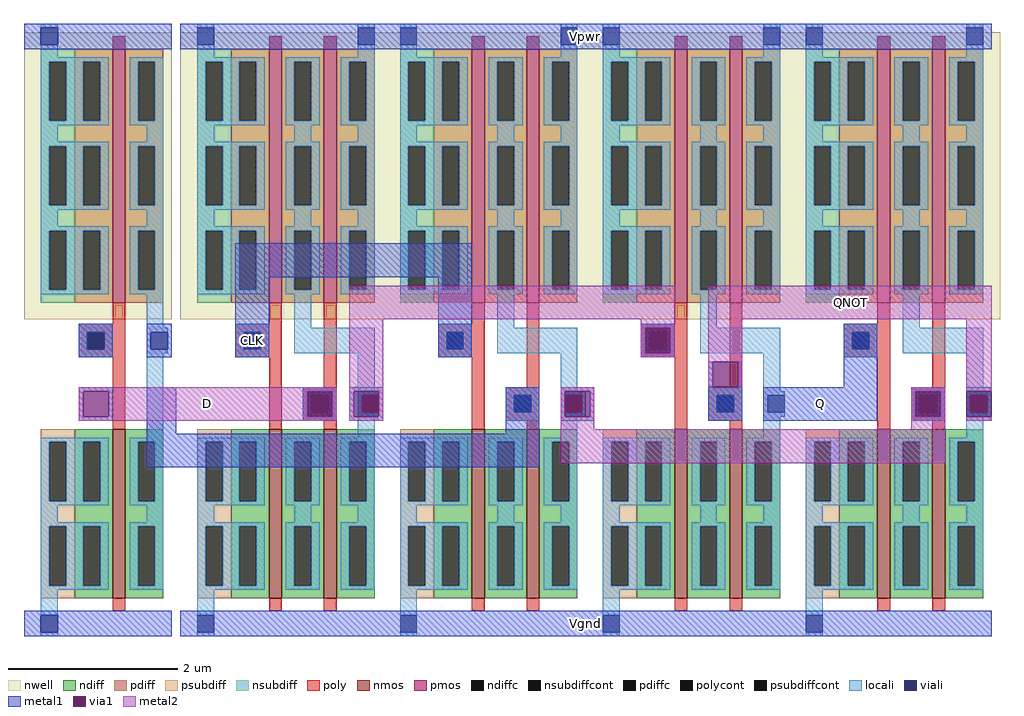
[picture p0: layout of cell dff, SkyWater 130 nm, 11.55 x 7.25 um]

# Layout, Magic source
magic
tech sky130A
<< nwell >>
rect 835 155 845 495
<< metal1 >>
rect -125 475 835 505
rect -60 205 220 245
rect -60 110 -20 205
rect 180 110 220 205
rect 500 75 505 105
rect 535 75 540 105
rect 660 75 700 150
rect -245 70 -205 75
rect -245 40 -240 70
rect -210 40 -205 70
rect -245 35 -205 40
rect -165 20 -130 75
rect 20 70 60 75
rect 20 40 25 70
rect 55 40 60 70
rect 20 35 60 40
rect 75 70 115 75
rect 75 40 80 70
rect 110 40 115 70
rect 75 35 115 40
rect 260 20 300 75
rect 325 70 365 75
rect 325 40 330 70
rect 360 40 365 70
rect 325 35 365 40
rect 500 35 540 75
rect 565 35 700 75
rect -165 -20 300 20
rect -125 -220 835 -190
<< via1 >>
rect 425 115 455 145
rect 505 75 535 105
rect -240 40 -210 70
rect 25 40 55 70
rect 80 40 110 70
rect 330 40 360 70
rect 745 40 775 70
rect 805 40 835 70
<< metal2 >>
rect 75 155 460 195
rect -245 70 60 75
rect -245 40 -240 70
rect -210 40 25 70
rect 55 40 60 70
rect -245 35 60 40
rect 75 70 115 155
rect 420 145 460 155
rect 420 115 425 145
rect 455 115 460 145
rect 420 110 460 115
rect 500 155 835 195
rect 500 105 540 155
rect 500 75 505 105
rect 535 75 540 105
rect 75 40 80 70
rect 110 40 115 70
rect 75 35 115 40
rect 325 70 365 75
rect 325 40 330 70
rect 360 40 365 70
rect 325 25 365 40
rect 740 70 780 75
rect 740 40 745 70
rect 775 40 780 70
rect 740 25 780 40
rect 805 70 835 155
rect 805 35 835 40
rect 325 -15 780 25
use inverter  inverter_0
transform 1 0 -205 0 1 -25
box -105 -195 80 530
use nand  nand_0
transform 1 0 -20 0 1 -25
box -105 -195 145 530
use nand  nand_1
transform 1 0 220 0 1 -25
box -105 -195 145 530
use nand  nand_2
transform 1 0 460 0 1 -25
box -105 -195 145 530
use nand  nand_3
transform 1 0 700 0 1 -25
box -105 -195 145 530
<< labels >>
flabel metal1 -60 110 -20 150 1 FreeSans 200 0 0 0 CLK
port 1 n
flabel metal1 -125 -220 835 -190 1 FreeSans 200 0 0 0 Vgnd
port 4 n
flabel metal1 -125 475 835 505 1 FreeSans 200 0 0 0 Vpwr
port 3 n
flabel metal2 -210 35 25 75 1 FreeSans 200 0 0 0 D
port 5 n
flabel metal2 500 155 835 195 1 FreeSans 200 0 0 0 QNOT
port 2 n
flabel metal1 565 35 700 75 1 FreeSans 200 0 0 0 Q
port 6 n
<< end >>

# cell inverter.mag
magic
tech sky130A
<< nwell >>
rect -105 180 70 520
<< nmos >>
rect 0 -150 15 50
<< pmos >>
rect 0 200 15 500
<< ndiff >>
rect -45 35 0 50
rect -45 -35 -35 35
rect -15 -35 0 35
rect -45 -65 0 -35
rect -45 -135 -35 -65
rect -15 -135 0 -65
rect -45 -150 0 -135
rect 15 35 60 50
rect 15 -35 30 35
rect 50 -35 60 35
rect 15 -65 60 -35
rect 15 -135 30 -65
rect 50 -135 60 -65
rect 15 -150 60 -135
<< pdiff >>
rect -45 485 0 500
rect -45 415 -35 485
rect -15 415 0 485
rect -45 385 0 415
rect -45 315 -35 385
rect -15 315 0 385
rect -45 285 0 315
rect -45 215 -35 285
rect -15 215 0 285
rect -45 200 0 215
rect 15 485 60 500
rect 15 415 30 485
rect 50 415 60 485
rect 15 385 60 415
rect 15 315 30 385
rect 50 315 60 385
rect 15 285 60 315
rect 15 215 30 285
rect 50 215 60 285
rect 15 200 60 215
<< ndiffc >>
rect -35 -35 -15 35
rect -35 -135 -15 -65
rect 30 -35 50 35
rect 30 -135 50 -65
<< pdiffc >>
rect -35 415 -15 485
rect -35 315 -15 385
rect -35 215 -15 285
rect 30 415 50 485
rect 30 315 50 385
rect 30 215 50 285
<< psubdiff >>
rect -85 35 -45 50
rect -85 -35 -75 35
rect -55 -35 -45 35
rect -85 -65 -45 -35
rect -85 -135 -75 -65
rect -55 -135 -45 -65
rect -85 -150 -45 -135
<< nsubdiff >>
rect -85 485 -45 500
rect -85 415 -75 485
rect -55 415 -45 485
rect -85 385 -45 415
rect -85 315 -75 385
rect -55 315 -45 385
rect -85 285 -45 315
rect -85 215 -75 285
rect -55 215 -45 285
rect -85 200 -45 215
<< psubdiffcont >>
rect -75 -35 -55 35
rect -75 -135 -55 -65
<< nsubdiffcont >>
rect -75 415 -55 485
rect -75 315 -55 385
rect -75 215 -55 285
<< poly >>
rect 0 500 15 515
rect 0 175 15 200
rect -40 165 15 175
rect -40 145 -30 165
rect -10 145 15 165
rect -40 135 15 145
rect 0 50 15 135
rect 0 -165 15 -150
<< polycont >>
rect -30 145 -10 165
<< locali >>
rect -85 525 -65 530
rect -85 490 -65 505
rect -85 485 -5 490
rect -85 415 -75 485
rect -55 415 -35 485
rect -15 415 -5 485
rect -85 410 -5 415
rect 20 485 60 490
rect 20 415 30 485
rect 50 415 60 485
rect 20 410 60 415
rect -85 390 -65 410
rect 40 390 60 410
rect -85 385 -5 390
rect -85 315 -75 385
rect -55 315 -35 385
rect -15 315 -5 385
rect -85 310 -5 315
rect 20 385 60 390
rect 20 315 30 385
rect 50 315 60 385
rect 20 310 60 315
rect -85 290 -65 310
rect 40 290 60 310
rect -85 285 -5 290
rect -85 215 -75 285
rect -55 215 -35 285
rect -15 215 -5 285
rect -85 210 -5 215
rect 20 285 60 290
rect 20 215 30 285
rect 50 215 60 285
rect 20 210 60 215
rect -40 165 0 175
rect -40 145 -30 165
rect -10 145 0 165
rect -40 135 0 145
rect 40 170 60 210
rect 40 165 65 170
rect 40 145 45 165
rect 40 140 65 145
rect 40 40 60 140
rect -85 35 -5 40
rect -85 -35 -75 35
rect -55 -35 -35 35
rect -15 -35 -5 35
rect -85 -40 -5 -35
rect 20 35 60 40
rect 20 -35 30 35
rect 50 -35 60 35
rect 20 -40 60 -35
rect -85 -60 -65 -40
rect 40 -60 60 -40
rect -85 -65 -5 -60
rect -85 -135 -75 -65
rect -55 -135 -35 -65
rect -15 -135 -5 -65
rect -85 -140 -5 -135
rect 20 -65 60 -60
rect 20 -135 30 -65
rect 50 -135 60 -65
rect 20 -140 60 -135
rect -85 -170 -65 -140
rect -85 -195 -65 -190
<< viali >>
rect -85 505 -65 525
rect -30 145 -10 165
rect 45 145 65 165
rect -85 -190 -65 -170
<< metal1 >>
rect -105 525 70 530
rect -105 505 -85 525
rect -65 505 70 525
rect -105 500 70 505
rect -40 165 0 175
rect -40 145 -30 165
rect -10 145 0 165
rect -40 135 0 145
rect 40 165 70 175
rect 40 145 45 165
rect 65 145 70 165
rect 40 135 70 145
rect -105 -170 70 -165
rect -105 -190 -85 -170
rect -65 -190 70 -170
rect -105 -195 70 -190
<< labels >>
flabel viali -85 -190 -65 -170 1 FreeSans 200 0 0 0 Vgnd
port 4 n
flabel viali -85 505 -65 525 1 FreeSans 200 0 0 0 Vpwr
port 3 n
flabel metal1 -30 145 -10 165 1 FreeSans 200 0 0 0 IN
port 1 n
flabel metal1 40 135 70 175 1 FreeSans 200 0 0 0 OUT
port 2 n
<< end >>

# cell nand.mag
magic
tech sky130A
<< nwell >>
rect -105 180 135 520
<< nmos >>
rect 0 -150 15 50
rect 65 -150 80 50
<< pmos >>
rect 0 200 15 500
rect 65 200 80 500
<< ndiff >>
rect -45 35 0 50
rect -45 -35 -35 35
rect -15 -35 0 35
rect -45 -65 0 -35
rect -45 -135 -35 -65
rect -15 -135 0 -65
rect -45 -150 0 -135
rect 15 35 65 50
rect 15 -35 30 35
rect 50 -35 65 35
rect 15 -65 65 -35
rect 15 -135 30 -65
rect 50 -135 65 -65
rect 15 -150 65 -135
rect 80 35 125 50
rect 80 -35 95 35
rect 115 -35 125 35
rect 80 -65 125 -35
rect 80 -135 95 -65
rect 115 -135 125 -65
rect 80 -150 125 -135
<< pdiff >>
rect -45 485 0 500
rect -45 415 -35 485
rect -15 415 0 485
rect -45 385 0 415
rect -45 315 -35 385
rect -15 315 0 385
rect -45 285 0 315
rect -45 215 -35 285
rect -15 215 0 285
rect -45 200 0 215
rect 15 485 65 500
rect 15 415 30 485
rect 50 415 65 485
rect 15 385 65 415
rect 15 315 30 385
rect 50 315 65 385
rect 15 285 65 315
rect 15 215 30 285
rect 50 215 65 285
rect 15 200 65 215
rect 80 485 125 500
rect 80 415 95 485
rect 115 415 125 485
rect 80 385 125 415
rect 80 315 95 385
rect 115 315 125 385
rect 80 285 125 315
rect 80 215 95 285
rect 115 215 125 285
rect 80 200 125 215
<< ndiffc >>
rect -35 -35 -15 35
rect -35 -135 -15 -65
rect 30 -35 50 35
rect 30 -135 50 -65
rect 95 -35 115 35
rect 95 -135 115 -65
<< pdiffc >>
rect -35 415 -15 485
rect -35 315 -15 385
rect -35 215 -15 285
rect 30 415 50 485
rect 30 315 50 385
rect 30 215 50 285
rect 95 415 115 485
rect 95 315 115 385
rect 95 215 115 285
<< psubdiff >>
rect -85 35 -45 50
rect -85 -35 -75 35
rect -55 -35 -45 35
rect -85 -65 -45 -35
rect -85 -135 -75 -65
rect -55 -135 -45 -65
rect -85 -150 -45 -135
<< nsubdiff >>
rect -85 485 -45 500
rect -85 415 -75 485
rect -55 415 -45 485
rect -85 385 -45 415
rect -85 315 -75 385
rect -55 315 -45 385
rect -85 285 -45 315
rect -85 215 -75 285
rect -55 215 -45 285
rect -85 200 -45 215
<< psubdiffcont >>
rect -75 -35 -55 35
rect -75 -135 -55 -65
<< nsubdiffcont >>
rect -75 415 -55 485
rect -75 315 -55 385
rect -75 215 -55 285
<< poly >>
rect 0 500 15 515
rect 65 500 80 515
rect 0 175 15 200
rect -40 165 15 175
rect -40 145 -30 165
rect -10 145 15 165
rect -40 135 15 145
rect 0 50 15 135
rect 65 100 80 200
rect 40 90 80 100
rect 40 70 50 90
rect 70 70 80 90
rect 40 60 80 70
rect 65 50 80 60
rect 0 -165 15 -150
rect 65 -165 80 -150
<< polycont >>
rect -30 145 -10 165
rect 50 70 70 90
<< locali >>
rect -85 525 -65 530
rect -85 490 -65 505
rect 105 525 125 530
rect 105 490 125 505
rect -85 485 -5 490
rect -85 415 -75 485
rect -55 415 -35 485
rect -15 415 -5 485
rect -85 410 -5 415
rect 20 485 60 490
rect 20 415 30 485
rect 50 415 60 485
rect 20 410 60 415
rect 85 485 125 490
rect 85 415 95 485
rect 115 415 125 485
rect 85 410 125 415
rect -85 390 -65 410
rect 30 390 50 410
rect 105 390 125 410
rect -85 385 -5 390
rect -85 315 -75 385
rect -55 315 -35 385
rect -15 315 -5 385
rect -85 310 -5 315
rect 20 385 60 390
rect 20 315 30 385
rect 50 315 60 385
rect 20 310 60 315
rect 85 385 125 390
rect 85 315 95 385
rect 115 315 125 385
rect 85 310 125 315
rect -85 290 -65 310
rect 30 290 50 310
rect 105 290 125 310
rect -85 285 -5 290
rect -85 215 -75 285
rect -55 215 -35 285
rect -15 215 -5 285
rect -85 210 -5 215
rect 20 285 60 290
rect 20 215 30 285
rect 50 215 60 285
rect 20 210 60 215
rect 85 285 125 290
rect 85 215 95 285
rect 115 215 125 285
rect 85 210 125 215
rect -40 165 0 175
rect -40 145 -30 165
rect -10 145 0 165
rect -40 135 0 145
rect 30 170 50 210
rect 30 140 125 170
rect 40 90 80 100
rect 40 70 50 90
rect 70 70 80 90
rect 40 60 80 70
rect 105 95 125 140
rect 105 90 130 95
rect 105 70 110 90
rect 105 65 130 70
rect 105 40 125 65
rect -85 35 -5 40
rect -85 -35 -75 35
rect -55 -35 -35 35
rect -15 -35 -5 35
rect -85 -40 -5 -35
rect 20 35 60 40
rect 20 -35 30 35
rect 50 -35 60 35
rect 20 -40 60 -35
rect 85 35 125 40
rect 85 -35 95 35
rect 115 -35 125 35
rect 85 -40 125 -35
rect -85 -60 -65 -40
rect 30 -60 50 -40
rect 105 -60 125 -40
rect -85 -65 -5 -60
rect -85 -135 -75 -65
rect -55 -135 -35 -65
rect -15 -135 -5 -65
rect -85 -140 -5 -135
rect 20 -65 60 -60
rect 20 -135 30 -65
rect 50 -135 60 -65
rect 20 -140 60 -135
rect 85 -65 125 -60
rect 85 -135 95 -65
rect 115 -135 125 -65
rect 85 -140 125 -135
rect -85 -170 -65 -140
rect -85 -195 -65 -190
<< viali >>
rect -85 505 -65 525
rect 105 505 125 525
rect -30 145 -10 165
rect 50 70 70 90
rect 110 70 130 90
rect -85 -190 -65 -170
<< metal1 >>
rect -105 525 135 530
rect -105 505 -85 525
rect -65 505 105 525
rect 125 505 135 525
rect -105 500 135 505
rect -40 165 0 175
rect -40 145 -30 165
rect -10 145 0 165
rect -40 135 0 145
rect 40 90 80 100
rect 40 70 50 90
rect 70 70 80 90
rect 40 60 80 70
rect 105 90 135 100
rect 105 70 110 90
rect 130 70 135 90
rect 105 60 135 70
rect -105 -170 135 -165
rect -105 -190 -85 -170
rect -65 -190 135 -170
rect -105 -195 135 -190
<< labels >>
flabel viali -85 -190 -65 -170 1 FreeSans 200 0 0 0 Vgnd
port 4 n
flabel viali -85 505 -65 525 1 FreeSans 200 0 0 0 Vpwr
port 3 n
flabel metal1 40 60 80 100 1 FreeSans 200 0 0 0 B
port 5 n
flabel metal1 -40 135 0 175 1 FreeSans 200 0 0 0 A
port 1 n
flabel metal1 105 60 135 100 1 FreeSans 200 0 0 0 OUT
port 2 n
<< end >>
